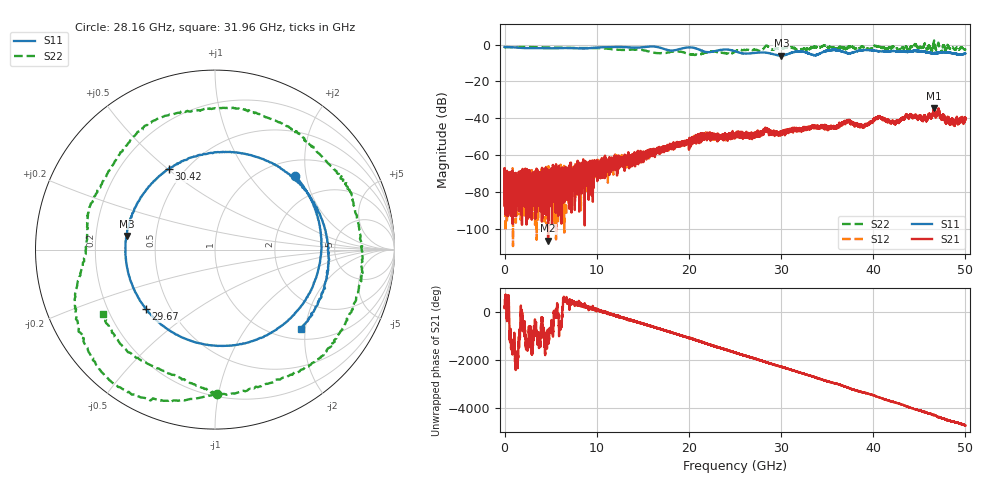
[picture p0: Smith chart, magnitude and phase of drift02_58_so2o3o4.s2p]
!Created with skrf (http://scikit-rf.org).
# Hz S RI R 50.0
!freq ReS11 ImS11 ReS21 ImS21 ReS12 ImS12 ReS22 ImS22
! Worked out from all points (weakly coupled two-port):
!   10001 points, 300 kHz to 50 GHz, reference 50 ohm
!   highest |S21| = -34.57 dB at 46.6 GHz (marker M1); lowest = -106.3 dB at 4.72 GHz (marker M2)
!   lowest |S11| = -6.1 dB at 30.04 GHz (marker M3), VSWR 2.98, Z = 16.9 + j3.43 ohm
!   |S11| at or under -10 dB: nowhere
!   |S22| runs from -5.7 to 2.2 dB; largest |S21 - S12| = 0.0029
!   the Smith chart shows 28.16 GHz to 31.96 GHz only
!   S11 on the Smith chart (normalised r, x): 28.16 GHz: 1.32, +1.72; 29.67 GHz: 0.37, -0.33; 30.42 GHz: 0.41, +0.50; 31.96 GHz: 1.22, -1.89
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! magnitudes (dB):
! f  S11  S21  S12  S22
! 300 kHz  -1.3  -83.3  -66.4  -2.1
! 250.3 MHz  -1.4  -72.4  -96.4  -1.4
! 515.3 MHz  -1.4  -75.8  -77.0  -1.5
! 4.72 GHz  -2.1  -106.3  -69.6  -1.6
! 8.335 GHz  -2.2  -68.1  -66.6  -1.9
! 16.67 GHz  -1.5  -58.2  -57.6  -4.7
! 21.67 GHz  -3.8  -50.3  -50.0  -4.6
! 25 GHz  -3.7  -49.0  -49.8  -3.9
! 28.16 GHz  -4.3  -46.4  -46.9  -1.9
! 29.67 GHz  -5.9  -48.4  -48.5  -2.2
! 30.04 GHz  -6.1  -47.7  -47.5  -2.0
! 30.42 GHz  -5.7  -47.3  -46.9  -1.8
! 31.96 GHz  -3.7  -45.6  -45.8  -2.8
! 33.34 GHz  -5.5  -45.0  -44.6  -1.6
! 35.6 GHz  -2.9  -44.9  -44.8  -1.5
! 37.31 GHz  -4.7  -40.7  -41.3  -1.3
! 38.89 GHz  -3.0  -44.4  -44.1  -1.4
! 40.64 GHz  -3.7  -39.1  -39.1  -0.9
! 41.67 GHz  -3.7  -41.2  -41.2  -1.9
! 46.6 GHz  -4.7  -34.6  -34.8  1.7
! 48.55 GHz  -4.7  -41.0  -41.2  -1.5
! 50 GHz  -4.9  -39.8  -40.9  -2.6
